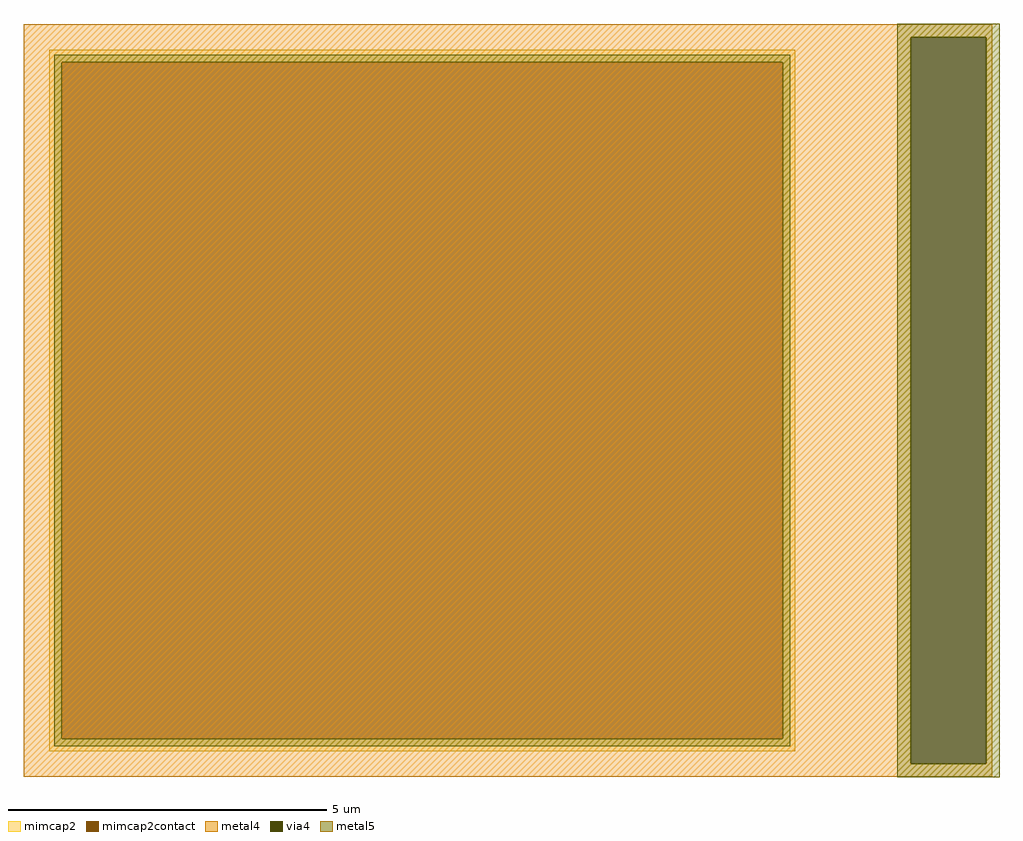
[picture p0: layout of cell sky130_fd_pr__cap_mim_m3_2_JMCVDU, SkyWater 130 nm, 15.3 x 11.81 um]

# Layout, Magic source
magic
tech sky130B
magscale 1 2
<< metal4 >>
rect -1519 1139 1519 1180
rect -1519 -1139 1263 1139
rect 1499 -1139 1519 1139
rect -1519 -1180 1519 -1139
<< via4 >>
rect 1263 -1139 1499 1139
<< mimcap2 >>
rect -1439 1060 901 1100
rect -1439 -1060 -1399 1060
rect 861 -1060 901 1060
rect -1439 -1100 901 -1060
<< mimcap2contact >>
rect -1399 -1060 861 1060
<< metal5 >>
rect 1221 1139 1541 1181
rect -1423 1060 885 1084
rect -1423 -1060 -1399 1060
rect 861 -1060 885 1060
rect -1423 -1084 885 -1060
rect 1221 -1139 1263 1139
rect 1499 -1139 1541 1139
rect 1221 -1181 1541 -1139
<< properties >>
string FIXED_BBOX -1519 -1180 981 1180
string gencell sky130_fd_pr__cap_mim_m3_2
string library sky130
string parameters w 11.7 l 11 val 266.025 carea 2.00 cperi 0.19 nx 1 ny 1 dummy 0 square 0 lmin 2.00 wmin 2.00 lmax 30.0 wmax 30.0 dc 0 bconnect 1 tconnect 1 ccov 100
<< end >>
